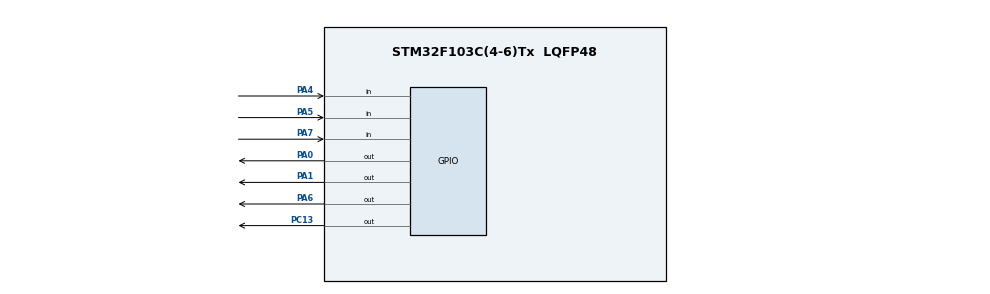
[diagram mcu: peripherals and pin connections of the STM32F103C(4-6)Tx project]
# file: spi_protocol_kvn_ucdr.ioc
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Mcu.Family=STM32F1
Mcu.Name=STM32F103C(4-6)Tx
Mcu.Package=LQFP48
NVIC.PriorityGroup=NVIC_PRIORITYGROUP_4
PA0-WKUP.Signal=GPIO_Output
PA1.Signal=GPIO_Output
PA13.Mode=Serial_Wire
PA13.Signal=SYS_JTMS-SWDIO
PA14.Mode=Serial_Wire
PA14.Signal=SYS_JTCK-SWCLK
PA4.Signal=GPIO_Input
PA5.Signal=GPIO_Input
PA6.Signal=GPIO_Output
PA7.Signal=GPIO_Input
PC13-TAMPER-RTC.Signal=GPIO_Output
PC14-OSC32_IN.Mode=LSE-External-Oscillator
PC14-OSC32_IN.Signal=RCC_OSC32_IN
PC15-OSC32_OUT.Mode=LSE-External-Oscillator
PC15-OSC32_OUT.Signal=RCC_OSC32_OUT
PD0-OSC_IN.Mode=HSE-External-Oscillator
PD0-OSC_IN.Signal=RCC_OSC_IN
PD1-OSC_OUT.Mode=HSE-External-Oscillator
PD1-OSC_OUT.Signal=RCC_OSC_OUT
ProjectManager.HeapSize=0x200
ProjectManager.StackSize=0x400
ProjectManager.TargetToolchain=STM32CubeIDE
RCC.APB1Freq_Value=8000000
RCC.APB2Freq_Value=8000000
board=custom

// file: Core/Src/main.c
/* USER CODE BEGIN Header */
/**
  ******************************************************************************
  * @file           : main.c
  * @brief          : Main program body
  ******************************************************************************
  * @attention
  *
  * Copyright (c) 2025 STMicroelectronics.
  * All rights reserved.
  *
  * This software is licensed under terms that can be found in the LICENSE file
  * in the root directory of this software component.
  * If no LICENSE file comes with this software, it is provided AS-IS.
  *
  ******************************************************************************
  */
/* USER CODE END Header */

#include "main.h"

/* USER CODE BEGIN Includes */
/* Kullanıcı tanımlı ek kütüphaneler buraya eklenebilir */
/* USER CODE END Includes */

/* USER CODE BEGIN PTD */
/* Özel typedef tanımları buraya eklenebilir */
/* USER CODE END PTD */

/* USER CODE BEGIN PD */
/* Özel sabit tanımları buraya eklenebilir */
/* USER CODE END PD */

/* USER CODE BEGIN PM */
/* Özel makrolar buraya eklenebilir */
/* USER CODE END PM */

/* USER CODE BEGIN PV */
/* Özel değişken tanımları buraya eklenebilir */
/* USER CODE END PV */

void SystemClock_Config(void);
static void MX_GPIO_Init(void);
/* USER CODE BEGIN PFP */
/* Kullanıcı tarafından tanımlanan özel fonksiyon prototipleri buraya eklenebilir */
/* USER CODE END PFP */

/* USER CODE BEGIN 0 */

/**
 * @brief SPI için GPIO pinlerini başlatır.
 */
void SPI_GPIO_Init(void) {
    GPIO_InitTypeDef GPIO_InitStruct = {0};
    __HAL_RCC_GPIOA_CLK_ENABLE();  // GPIOA portunun saat sinyalini etkinleştir

    // SPI giriş pinleri: PA4 (SS), PA5 (SCK), PA7 (MOSI)
    GPIO_InitStruct.Pin = GPIO_PIN_4 | GPIO_PIN_5 | GPIO_PIN_7;
    GPIO_InitStruct.Mode = GPIO_MODE_INPUT;
    GPIO_InitStruct.Pull = GPIO_NOPULL;
    HAL_GPIO_Init(GPIOA, &GPIO_InitStruct);

    // SPI çıkış pini: PA6 (MISO)
    GPIO_InitStruct.Pin = GPIO_PIN_6;
    GPIO_InitStruct.Mode = GPIO_MODE_OUTPUT_PP;
    GPIO_InitStruct.Speed = GPIO_SPEED_FREQ_HIGH;
    HAL_GPIO_Init(GPIOA, &GPIO_InitStruct);

    // LED pinleri: PA0 ve PA1
    GPIO_InitStruct.Pin = GPIO_PIN_0 | GPIO_PIN_1;
    GPIO_InitStruct.Mode = GPIO_MODE_OUTPUT_PP;
    GPIO_InitStruct.Speed = GPIO_SPEED_FREQ_LOW;
    HAL_GPIO_Init(GPIOA, &GPIO_InitStruct);

    // LED'leri başlangıçta söndür
    HAL_GPIO_WritePin(GPIOA, GPIO_PIN_0, GPIO_PIN_RESET);
    HAL_GPIO_WritePin(GPIOA, GPIO_PIN_1, GPIO_PIN_RESET);
}

/**
 * @brief SPI üzerinden veri alır.
 * @retval uint8_t Alınan veri
 */
uint8_t SPI_Receive(void) {
    uint8_t receivedData = 0;  // Alınan veriyi saklamak için değişken

    // 8 bitlik veriyi al
    for (int i = 7; i >= 0; i--) {
        // Clock HIGH olana kadar bekle
        while (HAL_GPIO_ReadPin(GPIOA, GPIO_PIN_5) == GPIO_PIN_RESET);

        // MOSI pinindeki veriyi oku ve kaydet
        receivedData = (receivedData << 1);
        if (HAL_GPIO_ReadPin(GPIOA, GPIO_PIN_7)) {
            receivedData |= 0x01;
        }

        // Clock LOW olana kadar bekle
        while (HAL_GPIO_ReadPin(GPIOA, GPIO_PIN_5) == GPIO_PIN_SET);
    }

    return receivedData;  // Alınan veriyi döndür
}

/**
 * @brief SPI üzerinden veri gönderir.
 * @param data Gönderilecek veri (8 bit)
 */
void SPI_Send(uint8_t data) {
    // MISO pinine en düşük biti gönder
    HAL_GPIO_WritePin(GPIOA, GPIO_PIN_6, (data & 0x01) ? GPIO_PIN_SET : GPIO_PIN_RESET);

    // Clock sinyalini bekle
    while (HAL_GPIO_ReadPin(GPIOA, GPIO_PIN_5) == GPIO_PIN_RESET);
    while (HAL_GPIO_ReadPin(GPIOA, GPIO_PIN_5) == GPIO_PIN_SET);
}

/**
 * @brief Slave Select (SS) pininin durumunu kontrol eder.
 * @retval uint8_t SS pin durumu (1: HIGH, 0: LOW)
 */
uint8_t SPI_CheckSlaveSelect(void) {
    return HAL_GPIO_ReadPin(GPIOA, GPIO_PIN_4);
}

/* USER CODE END 0 */

/**
  * @brief  Ana programın giriş noktası.
  * @retval int
  */
int main(void)
{
  HAL_Init();                // HAL kütüphanesini başlat
  SystemClock_Config();      // Sistem saat yapılandırmasını yap
  MX_GPIO_Init();            // Genel GPIO yapılandırmasını yap
  SPI_GPIO_Init();           // SPI için GPIO yapılandırmasını yap

  // Başlangıçta LED'leri söndür
  HAL_GPIO_WritePin(GPIOA, GPIO_PIN_0 | GPIO_PIN_1, GPIO_PIN_RESET);

  while (1)
  {
    // SS aktif olana kadar bekle
    while (SPI_CheckSlaveSelect() == GPIO_PIN_SET);

    // SPI üzerinden veriyi al
    uint8_t data = SPI_Receive();

    // Verinin tek/çift durumunu kontrol et
    uint8_t isOdd = (data & 0x01);  // Son bit 1 ise tek, 0 ise çift

    // LED'leri kontrol et
    if (isOdd) {
        HAL_GPIO_WritePin(GPIOA, GPIO_PIN_0, GPIO_PIN_RESET);  // Çift LED söndür
        HAL_GPIO_WritePin(GPIOA, GPIO_PIN_1, GPIO_PIN_SET);    // Tek LED yak
    } else {
        HAL_GPIO_WritePin(GPIOA, GPIO_PIN_0, GPIO_PIN_SET);    // Çift LED yak
        HAL_GPIO_WritePin(GPIOA, GPIO_PIN_1, GPIO_PIN_RESET);  // Tek LED söndür
    }

    // Tek/çift bilgisini SPI ile gönder
    SPI_Send(isOdd);

    // SS'in tekrar deaktif olmasını bekle
    while (SPI_CheckSlaveSelect() == GPIO_PIN_RESET);
  }
}

/**
  * @brief Sistem saat yapılandırma fonksiyonu.
  * @retval None
  */
void SystemClock_Config(void)
{
  RCC_OscInitTypeDef RCC_OscInitStruct = {0};
  RCC_ClkInitTypeDef RCC_ClkInitStruct = {0};

  RCC_OscInitStruct.OscillatorType = RCC_OSCILLATORTYPE_HSI;
  RCC_OscInitStruct.HSIState = RCC_HSI_ON;
  RCC_OscInitStruct.HSICalibrationValue = RCC_HSICALIBRATION_DEFAULT;
  RCC_OscInitStruct.PLL.PLLState = RCC_PLL_NONE;
  if (HAL_RCC_OscConfig(&RCC_OscInitStruct) != HAL_OK)
  {
    Error_Handler();
  }

  RCC_ClkInitStruct.ClockType = RCC_CLOCKTYPE_HCLK|RCC_CLOCKTYPE_SYSCLK
                              |RCC_CLOCKTYPE_PCLK1|RCC_CLOCKTYPE_PCLK2;
  RCC_ClkInitStruct.SYSCLKSource = RCC_SYSCLKSOURCE_HSI;
  RCC_ClkInitStruct.AHBCLKDivider = RCC_SYSCLK_DIV1;
  RCC_ClkInitStruct.APB1CLKDivider = RCC_HCLK_DIV1;
  RCC_ClkInitStruct.APB2CLKDivider = RCC_HCLK_DIV1;

  if (HAL_RCC_ClockConfig(&RCC_ClkInitStruct, FLASH_LATENCY_0) != HAL_OK)
  {
    Error_Handler();
  }
}

/**
  * @brief GPIO yapılandırma fonksiyonu.
  * @retval None
  */
static void MX_GPIO_Init(void)
{
  GPIO_InitTypeDef GPIO_InitStruct = {0};

  // Gerekli GPIO portlarının saat sinyallerini etkinleştir
  __HAL_RCC_GPIOC_CLK_ENABLE();
  __HAL_RCC_GPIOD_CLK_ENABLE();
  __HAL_RCC_GPIOA_CLK_ENABLE();

  // LED'leri başlangıçta söndür
  HAL_GPIO_WritePin(GPIOC, GPIO_PIN_13, GPIO_PIN_RESET);
  HAL_GPIO_WritePin(GPIOA, GPIO_PIN_0|GPIO_PIN_1|GPIO_PIN_6, GPIO_PIN_RESET);

  // GPIOC için pin yapılandırması
  GPIO_InitStruct.Pin = GPIO_PIN_13;
  GPIO_InitStruct.Mode = GPIO_MODE_OUTPUT_PP;
  GPIO_InitStruct.Pull = GPIO_NOPULL;
  GPIO_InitStruct.Speed = GPIO_SPEED_FREQ_LOW;
  HAL_GPIO_Init(GPIOC, &GPIO_InitStruct);

  // GPIOA için pin yapılandırması
  GPIO_InitStruct.Pin = GPIO_PIN_0|GPIO_PIN_1|GPIO_PIN_6;
  GPIO_InitStruct.Mode = GPIO_MODE_OUTPUT_PP;
  GPIO_InitStruct.Pull = GPIO_NOPULL;
  GPIO_InitStruct.Speed = GPIO_SPEED_FREQ_LOW;
  HAL_GPIO_Init(GPIOA, &GPIO_InitStruct);

  GPIO_InitStruct.Pin = GPIO_PIN_4|GPIO_PIN_5|GPIO_PIN_7;
  GPIO_InitStruct.Mode = GPIO_MODE_INPUT;
  GPIO_InitStruct.Pull = GPIO_NOPULL;
  HAL_GPIO_Init(GPIOA, &GPIO_InitStruct);
}

/**
  * @brief Hata durumunda çağrılan fonksiyon.
  * @retval None
  */
void Error_Handler(void)
{
  __disable_irq();  // Kesme sinyallerini devre dışı bırak
  while (1)
  {
    // Sonsuz döngü (hata durumu)
  }
}
